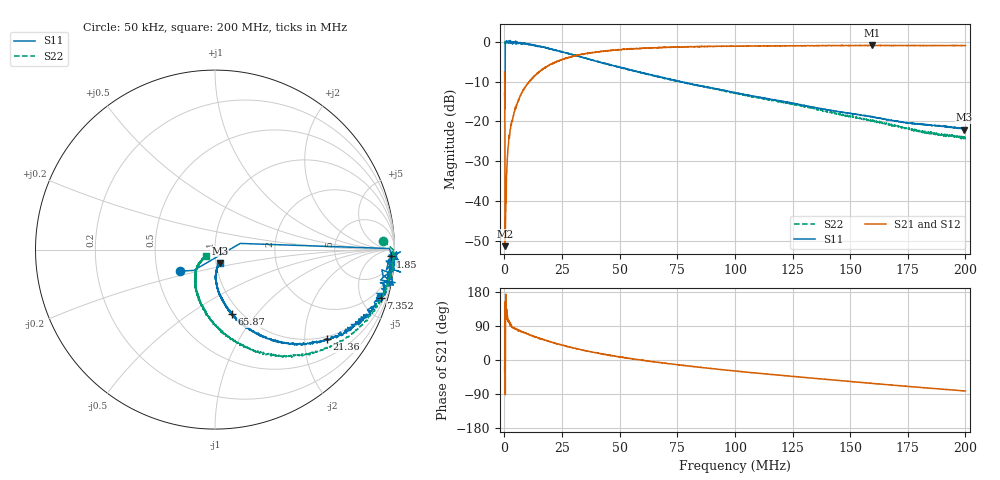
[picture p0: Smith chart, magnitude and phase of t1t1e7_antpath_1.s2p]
! 27-Aug-26 2:26:52 PM
! E:\20260827_VNA\T1T1E7_ANTPATH_1.S2P
! CHANNEL.1
! TR.MEASUREMENT
! CORRECTED.DATA
# GHZ S RI R 50.0
! FREQ.GHZ  S11RE  S11IM  S21RE  S21IM  S12RE  S12IM  S22RE  S22IM
!; PortSelection: Port_12
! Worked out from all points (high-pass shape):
!   2000 points, 50 kHz to 200 MHz, reference 50 ohm
!   highest |S21| = -0.85 dB at 159.4 MHz (marker M1); lowest = -51.4 dB at 250 kHz (marker M2)
!   |S21| within 3 dB of the highest: 28.43 MHz to end of sweep
!   lowest |S11| = -22.1 dB at 199.4 MHz (marker M3), VSWR 1.17, Z = 52.1 - j7.78 ohm
!   |S11| at or under -10 dB: start of sweep to 291.2 kHz; 76.02337 MHz to 76.10724 MHz (83.87 kHz wide, 0.11 % of centre); 76.29 MHz to end of sweep
!   |S22| runs from -24.4 to 0.1 dB; largest |S21 - S12| = 0.42
!   S11 on the Smith chart (normalised r, x): 50 kHz: 0.66, -0.17; 1.85 MHz: 22, -39; 7.352 MHz: 0.98, -6.93; 21.36 MHz: 0.92, -2.56; 65.87 MHz: 0.91, -0.76; 200 MHz: 1.04, -0.16
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5e-05  -0.1945 -0.1201  0.3676 -0.1964  -0.00295 -0.00421  0.9381 0.0461
0.00025005  0.1402 0.0343  -0.00242 0.0012  -0.000981 0.00379  1.002 -0.0137
0.000950225  0.9845 -0.0141  -0.0154 0.0157  -0.00316 0.0273  0.9935 -0.0465
0.0012503  1.011 -0.0122  -0.0169 0.0317  -0.00206 0.0349  0.9954 -0.0569
0.001350325  0.9922 -0.1101  -0.0138 0.0358  -0.00134 0.0383  0.9884 -0.0641
0.00185045  0.9781 -0.0381  -0.0146 0.0558  -0.0025 0.0537  0.9895 -0.077
0.002550625  0.9701 -0.1018  -0.00201 0.0807  0.00141 0.0766  0.9928 -0.1067
0.003750925  0.9692 -0.1657  0.0105 0.1151  0.00989 0.1117  0.9658 -0.1549
0.005151276  0.9635 -0.1737  0.0236 0.1603  0.0237 0.1557  0.9521 -0.2113
0.007351826  0.9237 -0.2669  0.0581 0.2176  0.0587 0.2143  0.9185 -0.2939
0.0132533  0.8045 -0.3849  0.1781 0.3302  0.1808 0.3359  0.7754 -0.4571
0.02135533  0.6247 -0.4999  0.3795 0.3945  0.388 0.3864  0.5525 -0.5697
0.03345835  0.3787 -0.5157  0.6251 0.3124  0.6183 0.3124  0.2743 -0.5819
0.04856213  0.1972 -0.4479  0.7863 0.1258  0.7791 0.1342  0.0724 -0.482
0.06586646  0.0933 -0.3592  0.8396 -0.0854  0.8412 -0.0805  -0.0408 -0.367
0.06676668  0.0934 -0.3501  0.835 -0.0818  0.8429 -0.0889  -0.0513 -0.3646
0.100075  0.0171 -0.2297  0.7711 -0.4313  0.7703 -0.4307  -0.1112 -0.1988
0.1333833  0.00325 -0.1522  0.6034 -0.6641  0.6047 -0.6621  -0.1027 -0.1043
0.1593898  0.00842 -0.1139  0.4323 -0.7971  0.4258 -0.793  -0.0763 -0.0681
0.1666917  0.0111 -0.104  0.3739 -0.8189  0.3704 -0.8182  -0.0727 -0.0567
0.1993998  0.0259 -0.0743  0.1306 -0.8889  0.1422 -0.8926  -0.0472 -0.0402
0.2  0.0274 -0.0764  0.1298 -0.8897  0.1319 -0.8862  -0.0492 -0.0384
